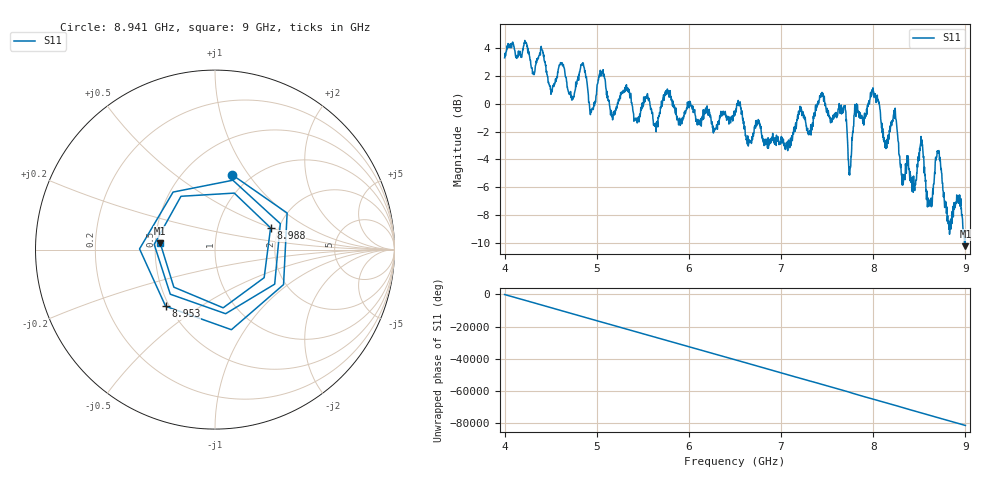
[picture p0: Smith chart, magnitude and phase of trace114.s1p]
! Created with skrf 1.8.0 (http://scikit-rf.org).
# Hz S RI R 50.0
!freq ReS11 ImS11
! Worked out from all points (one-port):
!   1601 points, 4 GHz to 9 GHz, reference 50 ohm
!   lowest |S11| = -10.3 dB at 9 GHz (marker M1), VSWR 1.89, Z = 26.6 + j2.09 ohm
!   |S11| at or under -10 dB: 8.990838 GHz to 8.991228 GHz (389.5 kHz wide, 0.00433 % of centre); 8.995957 GHz to end of sweep
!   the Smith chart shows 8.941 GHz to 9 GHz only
!   S11 on the Smith chart (normalised r, x): 8.941 GHz: 0.82, +0.84; 8.953 GHz: 0.48, -0.37; 8.988 GHz: 1.81, +0.49; 9 GHz: 0.53, +0.04
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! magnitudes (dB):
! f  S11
! 4 GHz  3.3
! 4.4 GHz  4.0
! 4.509 GHz  0.9
! 4.625 GHz  2.9
! 4.728 GHz  0.3
! 4.853 GHz  2.9
! 4.944 GHz  -0.4
! 5.05 GHz  2.2
! 5.166 GHz  -0.9
! 5.25 GHz  0.6
! 5.875 GHz  -1.0
! 6.5 GHz  -0.8
! 7.125 GHz  -2.3
! 7.444 GHz  0.8
! 7.678 GHz  -0.2
! 7.75 GHz  -4.5
! 7.812 GHz  -0.9
! 7.997 GHz  1.1
! 8.375 GHz  -4.4
! 8.444 GHz  -5.9
! 8.522 GHz  -2.7
! 8.612 GHz  -7.0
! 8.703 GHz  -3.4
! 8.825 GHz  -8.5
! 8.941 GHz  -7.4
! 8.953 GHz  -7.6
! 8.988 GHz  -9.6
! 9 GHz  -10.3
